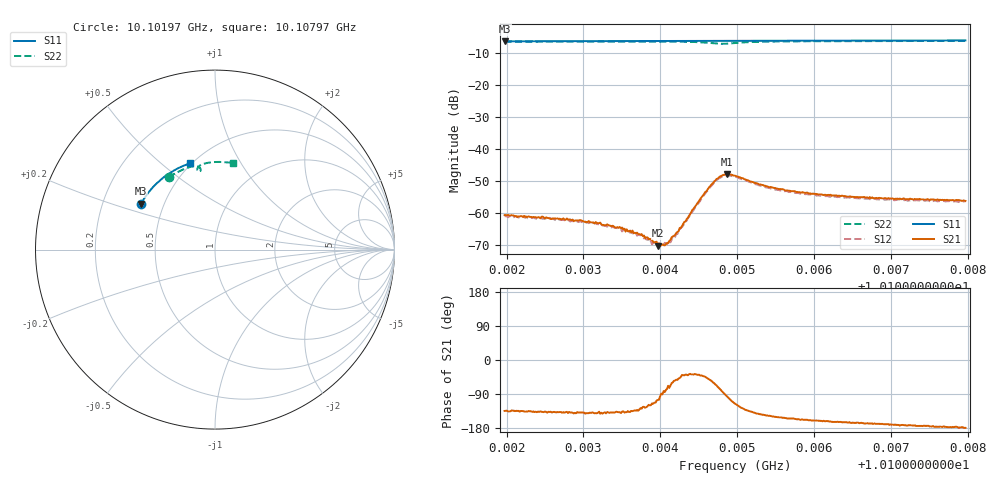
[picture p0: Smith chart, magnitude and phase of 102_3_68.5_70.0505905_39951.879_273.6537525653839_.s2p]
#  HZ  S  RI  R  50.00
! Rohde & Schwarz Vector Network Analyzer
! Rohde-Schwarz,ZNB20-2Port,1311601062101988,3.16
! Created: UTC 3/20/2024, 5:08:15 PM
! freq[Hz]  re:S11  im:S11  re:S21  im:S21  re:S12  im:S12  re:S22  im:S22
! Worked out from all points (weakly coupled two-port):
!   401 points, 10.10197 GHz to 10.10797 GHz, reference 50 ohm
!   highest |S21| = -47.96 dB at 10.10487 GHz (marker M1); lowest = -70.3 dB at 10.10397 GHz (marker M2)
!   lowest |S11| = -6.3 dB at 10.10197 GHz (marker M3), VSWR 2.88, Z = 18.6 + j12.5 ohm
!   |S11| at or under -10 dB: nowhere
!   |S22| runs from -7.1 to -6.2 dB; largest |S21 - S12| = 0.0004
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1.0101975e10  -0.4115 0.2564  -0.000644 -0.000657  -0.000555 -0.000672  -0.2571 0.4018
1.010256e10  -0.3929 0.287  -0.0006 -0.000557  -0.000568 -0.000609  -0.225 0.4226
1.0102979e10  -0.3783 0.3079  -0.000561 -0.000499  -0.000514 -0.000495  -0.2007 0.436
1.0103189e10  -0.3708 0.3182  -0.000518 -0.000445  -0.000473 -0.000466  -0.1881 0.442
1.0103264e10  -0.3679 0.3217  -0.000491 -0.000418  -0.000429 -0.000461  -0.1834 0.4442
1.0103474e10  -0.3598 0.3316  -0.000446 -0.000402  -0.000366 -0.000414  -0.1704 0.4498
1.0103564e10  -0.3563 0.3356  -0.000406 -0.00037  -0.00037 -0.000405  -0.1644 0.4521
1.0103759e10  -0.3486 0.3447  -0.000288 -0.000361  -0.000209 -0.000375  -0.1515 0.4566
1.0103968e10  -0.3399 0.3541  -8.18e-05 -0.000293  -7.2e-05 -0.000312  -0.1369 0.4609
1.0103983e10  -0.3391 0.3547  -8.44e-05 -0.00032  -3.92e-05 -0.000313  -0.1356 0.4611
1.0104073e10  -0.3354 0.3586  6.07e-05 -0.000319  6.4e-05 -0.000319  -0.1289 0.4627
1.0104163e10  -0.3318 0.3625  0.000218 -0.000364  0.000236 -0.000341  -0.1218 0.464
1.0104253e10  -0.3277 0.3662  0.00039 -0.000428  0.000416 -0.000347  -0.1143 0.4645
1.0104553e10  -0.3144 0.3787  0.00137 -0.00124  0.00142 -0.00106  -0.0867 0.4582
1.0104673e10  -0.3088 0.3834  0.00156 -0.00236  0.00168 -0.00212  -0.0795 0.4469
1.0104778e10  -0.3043 0.3875  0.000841 -0.00361  0.0011 -0.00334  -0.0836 0.4361
1.0104868e10  -0.3002 0.3909  -0.000438 -0.00397  -7.58e-05 -0.0038  -0.0934 0.4356
1.0104973e10  -0.2953 0.395  -0.00163 -0.00344  -0.00126 -0.00348  -0.0991 0.4453
1.0105407e10  -0.2746 0.4113  -0.00214 -0.00136  -0.00192 -0.00152  -0.0733 0.4743
1.0105977e10  -0.246 0.4306  -0.00187 -0.000686  -0.00173 -0.000847  -0.0326 0.4846
1.0106981e10  -0.1924 0.4594  -0.00166 -0.00026  -0.00155 -0.000432  0.0345 0.4883
1.010797e10  -0.1369 0.4811  -0.00153 -2.36e-05  -0.00151 -0.000166  0.0981 0.4823
